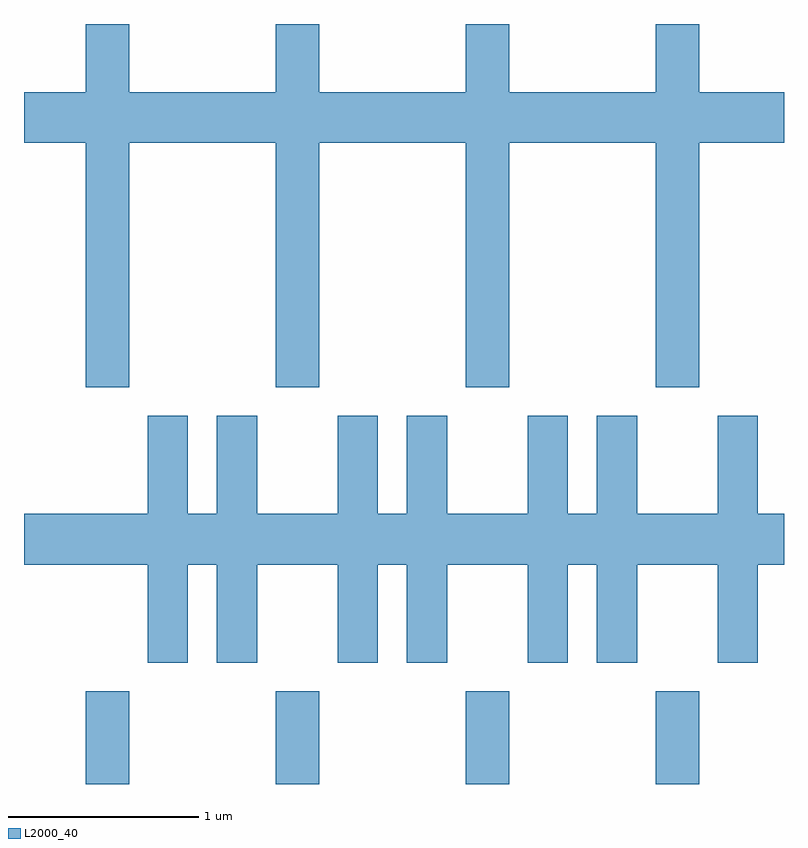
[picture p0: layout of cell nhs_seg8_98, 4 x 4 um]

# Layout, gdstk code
import gdstk
lib = gdstk.Library(unit=1e-6, precision=1e-09)
def R(c, l, rs):  # rectangles x0, y0, x1, y1
    for r in rs: c.add(gdstk.rectangle(r[:2], r[2:], *l))
def A(c, l, x, y, w, h, nx, ny, dx, dy):  # array of equal rectangles
    R(c, l, [(x+i*dx, y+j*dy, x+i*dx+w, y+j*dy+h) for i in range(nx) for j in range(ny)])
def P(c, l, *ps):  # polygons
    for p in ps: c.add(gdstk.Polygon(p, *l))
L2000_40 = (2000, 40)

nhs_seg8_98 = lib.new_cell('nhs_seg8_98')
A(nhs_seg8_98, L2000_40, 187.936, 1866.342, 0.228, 0.487, 4, 1, 1, 0)
P(nhs_seg8_98, L2000_40, [(188.164,1869.716),(188.936,1869.716),(188.936,1868.431),(189.164,1868.431),(189.164,1869.716),(189.936,1869.716),(189.936,1868.431),(190.164,1868.431),(190.164,1869.716),(190.936,1869.716),(190.936,1868.431),(191.164,1868.431),(191.164,1869.716),(191.611,1869.716),(191.611,1869.984),(191.164,1869.984),(191.164,1870.342),(190.936,1870.342),(190.936,1869.984),(190.164,1869.984),(190.164,1870.342),(189.936,1870.342),(189.936,1869.984),(189.164,1869.984),(189.164,1870.342),(188.936,1870.342),(188.936,1869.984),(188.164,1869.984),(188.164,1870.342),(187.936,1870.342),(187.936,1869.984),(187.611,1869.984),(187.611,1869.716),(187.936,1869.716),(187.936,1868.431),(188.164,1868.431)],
  [(188.474,1867.496),(188.626,1867.496),(188.626,1866.981),(188.839,1866.981),(188.839,1867.496),(189.261,1867.496),(189.261,1866.981),(189.474,1866.981),(189.474,1867.496),(189.626,1867.496),(189.626,1866.981),(189.839,1866.981),(189.839,1867.496),(190.261,1867.496),(190.261,1866.981),(190.474,1866.981),(190.474,1867.496),(190.626,1867.496),(190.626,1866.981),(190.839,1866.981),(190.839,1867.496),(191.261,1867.496),(191.261,1866.981),(191.474,1866.981),(191.474,1867.496),(191.611,1867.496),(191.611,1867.764),(191.474,1867.764),(191.474,1868.279),(191.261,1868.279),(191.261,1867.764),(190.839,1867.764),(190.839,1868.279),(190.626,1868.279),(190.626,1867.764),(190.474,1867.764),(190.474,1868.279),(190.261,1868.279),(190.261,1867.764),(189.839,1867.764),(189.839,1868.279),(189.626,1868.279),(189.626,1867.764),(189.474,1867.764),(189.474,1868.279),(189.261,1868.279),(189.261,1867.764),(188.839,1867.764),(188.839,1868.279),(188.626,1868.279),(188.626,1867.764),(188.474,1867.764),(188.474,1868.279),(188.261,1868.279),(188.261,1867.764),(187.611,1867.764),(187.611,1867.496),(188.261,1867.496),(188.261,1866.981),(188.474,1866.981)])

lib.write_gds('nhs_seg8_98.gds')
